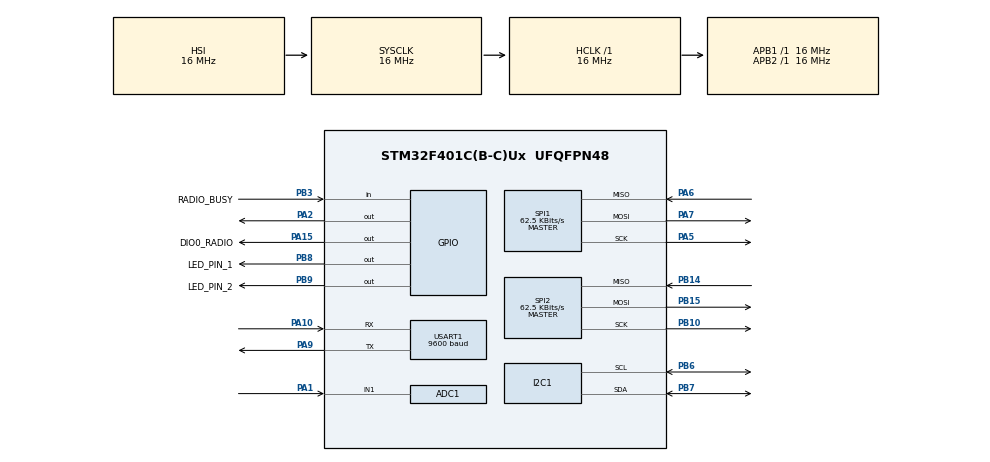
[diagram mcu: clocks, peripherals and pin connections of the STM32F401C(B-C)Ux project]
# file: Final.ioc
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ADC1.Channel-0\#ChannelRegularConversion=ADC_CHANNEL_1
ADC1.NbrOfConversionFlag=1
ADC1.Rank-0\#ChannelRegularConversion=1
ADC1.SamplingTime-0\#ChannelRegularConversion=ADC_SAMPLETIME_3CYCLES
ADC1.master=1
Mcu.Family=STM32F4
Mcu.Name=STM32F401C(B-C)Ux
Mcu.Package=UFQFPN48
NVIC.PriorityGroup=NVIC_PRIORITYGROUP_4
PA1.Signal=ADCx_IN1
PA10.Mode=Asynchronous
PA10.Signal=USART1_RX
PA15.GPIO_Label=DIO0_RADIO
PA15.Signal=GPIO_Output
PA2.GPIO_ModeDefaultOutputPP=GPIO_MODE_OUTPUT_OD
PA2.GPIO_PuPd=GPIO_NOPULL
PA2.PinState=GPIO_PIN_SET
PA2.Signal=GPIO_Output
PA5.Mode=Full_Duplex_Master
PA5.Signal=SPI1_SCK
PA6.Mode=Full_Duplex_Master
PA6.Signal=SPI1_MISO
PA7.Mode=Full_Duplex_Master
PA7.Signal=SPI1_MOSI
PA9.Mode=Asynchronous
PA9.Signal=USART1_TX
PB10.Mode=Full_Duplex_Master
PB10.Signal=SPI2_SCK
PB14.Mode=Full_Duplex_Master
PB14.Signal=SPI2_MISO
PB15.Mode=Full_Duplex_Master
PB15.Signal=SPI2_MOSI
PB3.GPIO_Label=RADIO_BUSY
PB3.Signal=GPIO_Input
PB6.Mode=I2C
PB6.Signal=I2C1_SCL
PB7.Mode=I2C
PB7.Signal=I2C1_SDA
PB8.GPIO_Label=LED_PIN_1
PB8.Signal=GPIO_Output
PB9.GPIO_Label=LED_PIN_2
PB9.Signal=GPIO_Output
PH0\ -\ OSC_IN.Mode=HSE-External-Oscillator
PH0\ -\ OSC_IN.Signal=RCC_OSC_IN
PH1\ -\ OSC_OUT.Mode=HSE-External-Oscillator
PH1\ -\ OSC_OUT.Signal=RCC_OSC_OUT
ProjectManager.HeapSize=0x400
ProjectManager.StackSize=0x800
ProjectManager.TargetToolchain=STM32CubeIDE
RCC.AHBFreq_Value=16000000
RCC.APB1Freq_Value=16000000
RCC.APB2Freq_Value=16000000
RCC.CortexFreq_Value=16000000
RCC.HSE_VALUE=25000000
RCC.HSI_VALUE=16000000
RCC.LSE_VALUE=32768
RCC.SYSCLKFreq_VALUE=16000000
RCC.VCOOutputFreq_Value=192000000
SH.ADCx_IN1.0=ADC1_IN1,IN1
SPI1.BaudRatePrescaler=SPI_BAUDRATEPRESCALER_256
SPI1.CalculateBaudRate=62.5 KBits/s
SPI1.Direction=SPI_DIRECTION_2LINES
SPI1.Mode=SPI_MODE_MASTER
SPI1.VirtualType=VM_MASTER
SPI2.BaudRatePrescaler=SPI_BAUDRATEPRESCALER_256
SPI2.CalculateBaudRate=62.5 KBits/s
SPI2.Direction=SPI_DIRECTION_2LINES
SPI2.Mode=SPI_MODE_MASTER
SPI2.VirtualType=VM_MASTER
USART1.BaudRate=9600
USART1.VirtualMode=VM_ASYNC
VP_FATFS_VS_Generic.Mode=User_defined
board=custom

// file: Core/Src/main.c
/* USER CODE BEGIN Header */
/**
  ******************************************************************************
  * @file           : main.c
  * @brief          : Main program body
  ******************************************************************************
  */
/* USER CODE END Header */
#include "main.h"
#include "adc.h"
#include "i2c.h"
#include "spi.h"
#include "usart.h"
#include "gpio.h"

/* USER CODE BEGIN Includes */
#include "serial_print.h"
#include "mcp23017.h"
#include "bmi088.h"
#include "lis3mdl.h"
#include "bmp388.h"
#include "lora278.h"
#include "dwt_delay.h"
#include "ds18b20.h"
#include "sd_mcp23017.h"
#include <stdio.h>
#include <stdlib.h>
#include <string.h>
/* USER CODE END Includes */

/* USER CODE BEGIN PTD */
#pragma pack(push, 1)
typedef struct {
    uint16_t  node_id;
    int16_t  accel_x;
    int16_t  accel_y;
    int16_t  accel_z;
    int16_t  gyro_x;
    int16_t  gyro_y;
    int16_t  gyro_z;
    int16_t  mag_x;
    int16_t  mag_y;
    int16_t  mag_z;
    uint8_t  pressure[3];
    int16_t  temperature;
    uint8_t  state_flags;
    uint8_t  checksum;
} TelemetryPacket_t;
#pragma pack(pop)

#pragma pack(push, 1)
typedef struct {
    uint16_t target_id;
    uint8_t cmd_id;
    int16_t param;
    uint8_t  checksum;
} CommandPacket_t;
#pragma pack(pop)
/* USER CODE END PTD */

/* USER CODE BEGIN PV */
volatile bool _packetReady = false;
volatile int _pendingLength = 0;
extern ADC_HandleTypeDef hadc1;

// ID вашего устройства
uint16_t MY_NODE_ID = 0xBBB9;
bool bmi_ok = false;
bool lis_ok = false;
bool bmp_ok = false;
bool lora_ready = false; // Флаг готовности LoRa для логов

// Глобальный буфер для хранения самых свежих данных
TelemetryPacket_t current_pkt;
/* USER CODE END PV */

void SystemClock_Config(void);

/* USER CODE BEGIN 0 */
void OnLoRaPacketReceived(int packetSize) {
    _pendingLength = packetSize;
    _packetReady = true;
}

// Универсальная функция для отправки логов в UART и по LoRa
void Send_Log(const char* msg) {
    // Вывод в UART (для локальной отладки)
    Serial_Printf(&huart1, "%s\r\n", msg);

    // Если LoRa уже работает, отправляем в радиоэфир
    if (lora_ready) {
        uint8_t lora_buf[128];

        // 1. Первые 2 байта всегда жестко задаем как наш бинарный ID (0xBBB9)
        uint16_t* id_ptr = (uint16_t*)lora_buf;
        *id_ptr = MY_NODE_ID;

        // 2. Начиная с 3-го байта (индекс 2) пишем сам текст
        int len = snprintf((char*)(lora_buf + 2), sizeof(lora_buf) - 2, "LOG: %s", msg);

        LoRa_BeginPacket(0);
        LoRa_Write(lora_buf, len + 2); // Длина текста + 2 байта ID
        LoRa_EndPacket(0);

        LoRa_Receive(0);
        HAL_Delay(50);
    }
}
/* USER CODE END 0 */

int main(void)
{

  /* MCU Configuration--------------------------------------------------------*/

  /* Reset of all peripherals, Initializes the Flash interface and the Systick. */
  HAL_Init();

  /* Configure the system clock */
  SystemClock_Config();

  /* Initialize all configured peripherals */
  MX_GPIO_Init();
  MX_I2C1_Init();
  MX_SPI1_Init();
  MX_SPI2_Init();
  MX_USART1_UART_Init();
  MX_ADC1_Init();
  /* USER CODE BEGIN 2 */
    DWT_Init();
    HAL_GPIO_WritePin(LED_PIN_1_GPIO_Port, LED_PIN_1_Pin, 1);

    Serial_Printf(&huart1, "\r\n--- Sensors & LoRa INIT ---\r\n");

    if (MCP23017_Init() != HAL_OK) {
        Serial_Printf(&huart1, "MCP23017 Expander NOT FOUND!\r\n");
    } else {
        Serial_Printf(&huart1, "MCP23017 OK\r\n");
    }

    // Подтягиваем CS всех датчиков
    MCP23017_WriteAll(0xFFFF);

    // Инициализируем LoRa ПЕРВЫМ из датчиков, чтобы отправлять статусы остальных
    LoRa_Init();
    if (!LoRa_Begin(441000000)) {
        Serial_Printf(&huart1, "LoRa init failed!\r\n");
    } else {
        LoRa_SetSpreadingFactor(7);
        LoRa_SetSignalBandwidth(125000);
        LoRa_SetCodingRate4(5);
        LoRa_EnableCrc();
        LoRa_SetSyncWord(0x12);
        LoRa_SetTxPower(20, 1);

        LoRa_OnReceive(OnLoRaPacketReceived);
        LoRa_Receive(0);
        lora_ready = true; // Разрешаем отправку логов по радио
        Send_Log("LoRa Ready!");
    }

    if (BMI088_Init(&hspi1) != HAL_OK) {
        Send_Log("BMI088 init failed!");
        bmi_ok = false;
    } else {
        Send_Log("BMI088 OK. Calibrating...");
        BMI088_CalibrateGyro(&hspi1, 200);
        bmi_ok = true;
    }

    if (LIS3MDL_Init() != 1) {
        Send_Log("LIS3MDL init failed!");
        lis_ok = false;
    } else {
        Send_Log("LIS3MDL OK");
        lis_ok = true;
        //LIS3MDL_Calibrate();
    }

    if (BMP388_Init() != BMP388_OK) {
        Send_Log("BMP388 init failed!");
        bmp_ok = false;
    } else {
        Send_Log("BMP388 OK");
        bmp_ok = true;
    }

    if (SD_MCP_Init(&hspi2) != 0) {
        Send_Log("SD Init Failed!");
    } else {
        Send_Log("SD OK!");
    }

    HAL_ADC_Start(&hadc1);

    uint32_t last_poll_tick = HAL_GetTick();
    uint32_t last_sd_tick   = HAL_GetTick();
    uint32_t last_tx_tick   = HAL_GetTick();

    uint32_t ds18b20_timer = 0;
    uint8_t ds18b20_state = 0;
    float current_temp_ds = 0.0f;
    uint16_t photo_val = 0;

    memset(&current_pkt, 0, sizeof(current_pkt));
    current_pkt.node_id = MY_NODE_ID;
  /* USER CODE END 2 */

  /* Infinite loop */
  /* USER CODE BEGIN WHILE */
      BMI088_Raw_t raw;
      BMI088_Physical_t phys;

      Send_Log("INIT DONE. Entering main loop...");

      while (1)
      {
          // --- 1. Обработка входящих команд LoRa ---
          if (_packetReady) {
              _packetReady = false;
              if (_pendingLength == sizeof(CommandPacket_t)) {
                  CommandPacket_t rx_cmd;
                  uint8_t *ptr = (uint8_t*)&rx_cmd;
                  int i = 0;
                  while (LoRa_Available() && i < sizeof(CommandPacket_t)) {
                      ptr[i++] = (uint8_t)LoRa_Read();
                  }
                  if (rx_cmd.target_id == MY_NODE_ID || rx_cmd.target_id == 0xFF) {
                      char cmd_log[64];
                      snprintf(cmd_log, sizeof(cmd_log), "RX CMD | ID: 0x%02X, Param: %d", rx_cmd.cmd_id, rx_cmd.param);
                      Send_Log(cmd_log);

                      switch (rx_cmd.cmd_id) {
                          case 0x01:
                              HAL_GPIO_WritePin(LED_PIN_1_GPIO_Port, LED_PIN_1_Pin, rx_cmd.param ? GPIO_PIN_SET : GPIO_PIN_RESET);
                              break;
                          case 0x02:
                              Send_Log("Action: System Rebooting...");
                              HAL_Delay(100);
                              NVIC_SystemReset();
                              break;
                      }
                  }
              } else {
                  while (LoRa_Available()) LoRa_Read();
              }
          }

          // --- 2. Неблокирующий опрос DS18B20 ---
          if (ds18b20_state == 0) {
              if (DS18B20_Start()) {
                  DS18B20_WriteByte(0xCC);
                  DS18B20_WriteByte(0x44);
                  ds18b20_timer = HAL_GetTick();
                  ds18b20_state = 1;
              }
          }
          else if (ds18b20_state == 1) {
              if (HAL_GetTick() - ds18b20_timer >= 750) {
                  if (DS18B20_Start()) {
                      DS18B20_WriteByte(0xCC);
                      DS18B20_WriteByte(0xBE);
                      uint8_t temp_lsb = DS18B20_ReadByte();
                      uint8_t temp_msb = DS18B20_ReadByte();
                      int16_t temp_raw = (temp_msb << 8) | temp_lsb;
                      current_temp_ds = temp_raw / 16.0f;
                  }
                  ds18b20_state = 0;
              }
          }

          // --- 3. Опрос датчиков (Например, 50 Гц / каждые 20 мс) ---
          if (HAL_GetTick() - last_poll_tick >= 20) {
              last_poll_tick = HAL_GetTick();
              current_pkt.state_flags = 0;

              HAL_ADC_Start(&hadc1);
              if (HAL_ADC_PollForConversion(&hadc1, 10) == HAL_OK) {
                  photo_val = HAL_ADC_GetValue(&hadc1);
              }

              if (bmi_ok && (BMI088_ReadRaw(&hspi1, &raw) == HAL_OK)) {
                  BMI088_ToPhysical(&raw, &phys);
                  current_pkt.accel_x = (int16_t)(phys.Accel_X * 100);
                  current_pkt.accel_y = (int16_t)(phys.Accel_Y * 100);
                  current_pkt.accel_z = (int16_t)(phys.Accel_Z * 100);
                  current_pkt.gyro_x  = (int16_t)(phys.Gyro_X * 100);
                  current_pkt.gyro_y  = (int16_t)(phys.Gyro_Y * 100);
                  current_pkt.gyro_z  = (int16_t)(phys.Gyro_Z * 100);
                  current_pkt.state_flags |= (1 << 0);
              }

              if (lis_ok) {
                  LIS3MDL_Read_Mag(&current_pkt.mag_x, &current_pkt.mag_y, &current_pkt.mag_z);
                  current_pkt.state_flags |= (1 << 1);
              }

              if (bmp_ok) {
                  float bmp_temp, bmp_press;
                  if (BMP388_Read(&bmp_temp, &bmp_press) == BMP388_OK) {
                      uint32_t press_int = (uint32_t)(bmp_press * 100);
                      current_pkt.pressure[0] = (press_int >> 16) & 0xFF;
                      current_pkt.pressure[1] = (press_int >> 8) & 0xFF;
                      current_pkt.pressure[2] = press_int & 0xFF;
                      current_pkt.temperature = (int16_t)(bmp_temp * 100);
                      current_pkt.state_flags |= (1 << 2);
                  }
              }

              if (current_temp_ds != 0.0f) {
                  current_pkt.temperature = (int16_t)(current_temp_ds * 100);
                  current_pkt.state_flags |= (1 << 3);
              }
          }

          // --- 4. Запись на SD карту (Например, 10 Гц / каждые 100 мс) ---
          if (HAL_GetTick() - last_sd_tick >= 100) {
              last_sd_tick = HAL_GetTick();

              char sd_buffer[200];
              uint32_t press_val = ((uint32_t)current_pkt.pressure[0] << 16) |
                                   ((uint32_t)current_pkt.pressure[1] << 8) |
                                   current_pkt.pressure[2];

              snprintf(sd_buffer, sizeof(sd_buffer), "%X,%d,%d,%d,%d,%d,%d,%d,%d,%d,%lu,%d,%u\n",
                       current_pkt.node_id,
                       current_pkt.accel_x, current_pkt.accel_y, current_pkt.accel_z,
                       current_pkt.gyro_x, current_pkt.gyro_y, current_pkt.gyro_z,
                       current_pkt.mag_x, current_pkt.mag_y, current_pkt.mag_z,
                       press_val, current_pkt.temperature, current_pkt.state_flags);

              SD_MCP_WriteFile("data.csv", sd_buffer);
          }

          // --- 5. Отправка телеметрии по LoRa (Например, 1 Гц / каждую 1000 мс) ---
          if (HAL_GetTick() - last_tx_tick >= 1000) {
              last_tx_tick = HAL_GetTick();

              uint8_t calc_crc = 0;
              uint8_t *ptr = (uint8_t*)&current_pkt;
              for (int i = 0; i < sizeof(TelemetryPacket_t) - 1; i++) {
                  calc_crc ^= ptr[i];
              }
              current_pkt.checksum = calc_crc;

              uint32_t press_val = ((uint32_t)current_pkt.pressure[0] << 16) |
                                 ((uint32_t)current_pkt.pressure[1] << 8) |
                                 current_pkt.pressure[2];

              Serial_Printf(&huart1, "TX Node:%X | Acc:%d,%d,%d | Gyr:%d,%d,%d | Mag:%d,%d,%d | Press:%lu | Temp:%d | Flags:0x%02X | CRC:0x%02X\r\n",
                     current_pkt.node_id,
                     current_pkt.accel_x, current_pkt.accel_y, current_pkt.accel_z,
                     current_pkt.gyro_x, current_pkt.gyro_y, current_pkt.gyro_z,
                     current_pkt.mag_x, current_pkt.mag_y, current_pkt.mag_z,
                     press_val, current_pkt.temperature, current_pkt.state_flags, current_pkt.checksum);

              LoRa_BeginPacket(0);
              LoRa_Write((uint8_t*)&current_pkt, sizeof(TelemetryPacket_t));
              LoRa_EndPacket(0);

              LoRa_Receive(0);
          }
      }
    /* USER CODE END WHILE */

}

void SystemClock_Config(void)
{
  RCC_OscInitTypeDef RCC_OscInitStruct = {0};
  RCC_ClkInitTypeDef RCC_ClkInitStruct = {0};

  __HAL_RCC_PWR_CLK_ENABLE();
  __HAL_PWR_VOLTAGESCALING_CONFIG(PWR_REGULATOR_VOLTAGE_SCALE2);

  RCC_OscInitStruct.OscillatorType = RCC_OSCILLATORTYPE_HSI;
  RCC_OscInitStruct.HSIState = RCC_HSI_ON;
  RCC_OscInitStruct.HSICalibrationValue = RCC_HSICALIBRATION_DEFAULT;
  RCC_OscInitStruct.PLL.PLLState = RCC_PLL_NONE;
  if (HAL_RCC_OscConfig(&RCC_OscInitStruct) != HAL_OK)
  {
    Error_Handler();
  }

  RCC_ClkInitStruct.ClockType = RCC_CLOCKTYPE_HCLK|RCC_CLOCKTYPE_SYSCLK
                              |RCC_CLOCKTYPE_PCLK1|RCC_CLOCKTYPE_PCLK2;
  RCC_ClkInitStruct.SYSCLKSource = RCC_SYSCLKSOURCE_HSI;
  RCC_ClkInitStruct.AHBCLKDivider = RCC_SYSCLK_DIV1;
  RCC_ClkInitStruct.APB1CLKDivider = RCC_HCLK_DIV1;
  RCC_ClkInitStruct.APB2CLKDivider = RCC_HCLK_DIV1;

  if (HAL_RCC_ClockConfig(&RCC_ClkInitStruct, FLASH_LATENCY_0) != HAL_OK)
  {
    Error_Handler();
  }
}

void Error_Handler(void)
{
  __disable_irq();
  while (1)
  {
  }
}
